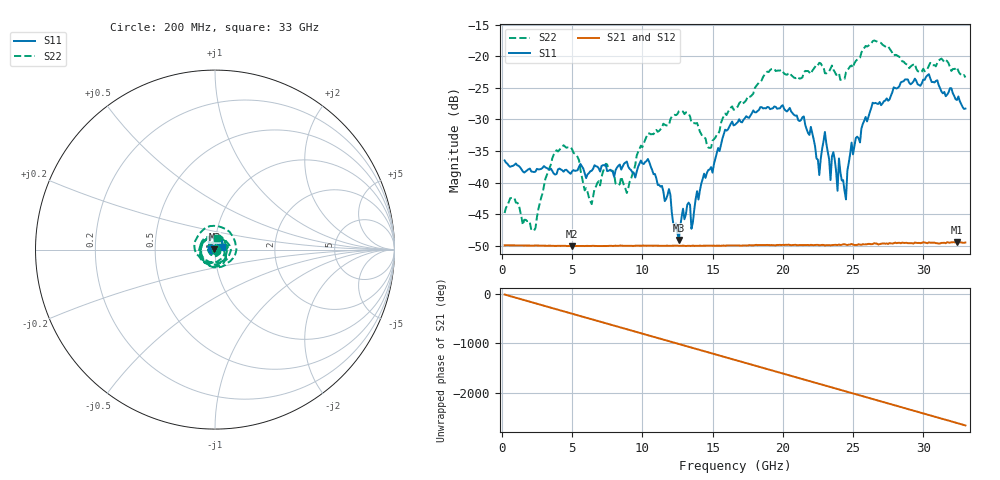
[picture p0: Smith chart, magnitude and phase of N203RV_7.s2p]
# GHZ S RI R 50
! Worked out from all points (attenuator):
!   329 points, 200 MHz to 33 GHz, reference 50 ohm
!   highest |S21| = -49.45 dB at 32.4 GHz (marker M1); lowest = -50.1 dB at 5 GHz (marker M2)
!   lowest |S11| = -49.1 dB at 12.6 GHz (marker M3), VSWR 1.01, Z = 49.7 + j0.0947 ohm
!   |S11| at or under -10 dB: start of sweep to end of sweep
!   |S22| runs from -47.6 to -17.5 dB; largest |S21 - S12| = 7.2e-05
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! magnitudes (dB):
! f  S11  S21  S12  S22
! 200 MHz  -36.5  -50.0  -49.9  -44.8
! 2.3 GHz  -38.3  -50.0  -50.0  -47.6
! 3.7 GHz  -38.6  -50.1  -50.0  -35.5
! 5 GHz  -38.3  -50.1  -50.1  -34.7
! 5.7 GHz  -37.4  -50.1  -50.1  -39.1
! 8.9 GHz  -36.7  -50.0  -50.0  -41.7
! 11.2 GHz  -40.4  -50.0  -50.0  -31.8
! 12.6 GHz  -49.1  -50.1  -50.0  -28.7
! 14.8 GHz  -37.9  -50.0  -50.0  -34.5
! 16.6 GHz  -30.8  -50.0  -50.0  -28.4
! 22.1 GHz  -32.2  -49.9  -49.9  -22.3
! 22.6 GHz  -38.8  -50.0  -49.9  -21.0
! 23 GHz  -32.0  -50.0  -49.9  -22.7
! 23.4 GHz  -39.6  -50.0  -49.9  -21.9
! 23.6 GHz  -35.2  -49.9  -49.9  -22.1
! 23.9 GHz  -41.3  -49.9  -49.9  -22.9
! 24 GHz  -36.2  -49.8  -49.9  -22.7
! 24.5 GHz  -42.7  -49.9  -49.8  -22.5
! 24.9 GHz  -33.7  -49.8  -49.8  -21.4
! 27.6 GHz  -26.8  -49.6  -49.6  -18.7
! 32.4 GHz  -26.9  -49.4  -49.5  -21.7
! 33 GHz  -28.3  -49.5  -49.5  -23.3
